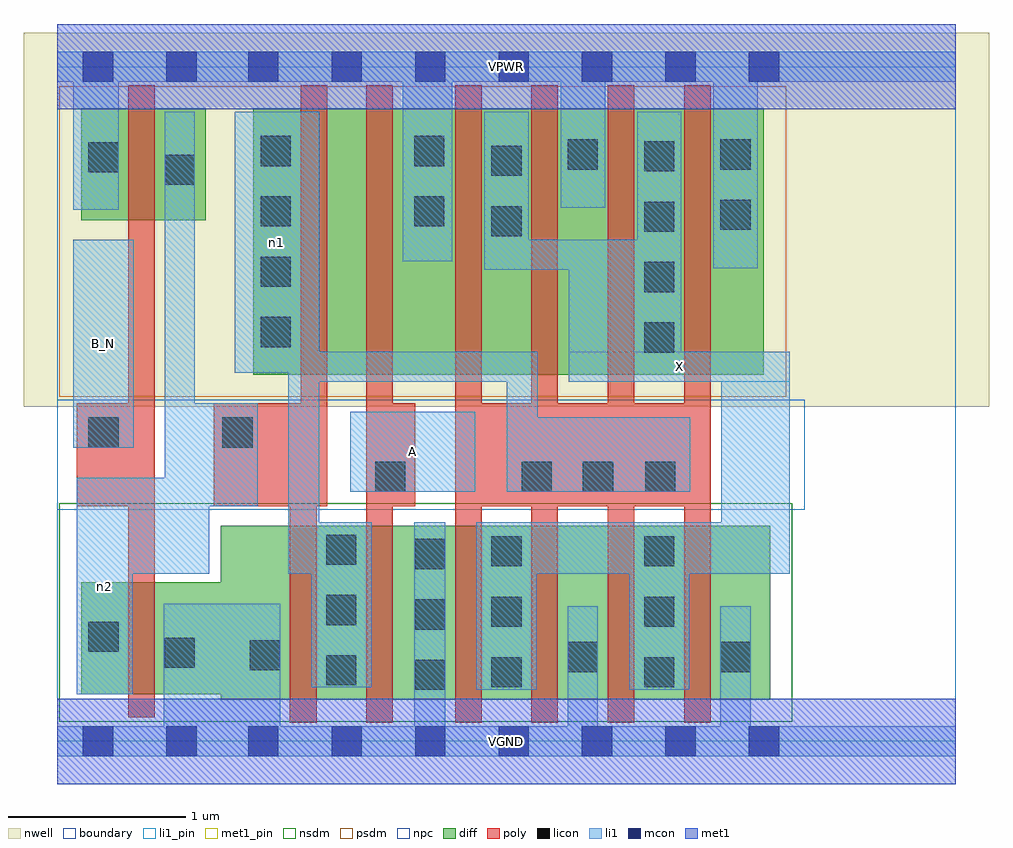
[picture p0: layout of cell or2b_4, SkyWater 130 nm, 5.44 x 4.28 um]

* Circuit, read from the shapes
.subckt or2b_4 A B_N VGND VPWR X n1 n2
XM1 VGND B_N n2 VSUBS sky130_fd_pr__nfet_01v8 w=0.63 l=0.15
XM2 n1 n2 VGND VSUBS sky130_fd_pr__nfet_01v8 w=0.98 l=0.15
XM3 VGND A n1 VSUBS sky130_fd_pr__nfet_01v8 w=0.98 l=0.15
XM4 X n1 VGND VSUBS sky130_fd_pr__nfet_01v8 w=0.98 l=0.15 m=4
XM5 n2 B_N VPWR n3 sky130_fd_pr__pfet_01v8 w=0.63 l=0.15
XM6 n4 n2 n1 n3 sky130_fd_pr__pfet_01v8 w=1.5 l=0.15
XM7 VPWR A n4 n3 sky130_fd_pr__pfet_01v8 w=1.5 l=0.15
XM8 X n1 VPWR n3 sky130_fd_pr__pfet_01v8 w=1.5 l=0.15 m=4
.ends

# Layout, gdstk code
import gdstk
lib = gdstk.Library(unit=1e-6, precision=1e-09)
def R(c, l, rs):  # rectangles x0, y0, x1, y1
    for r in rs: c.add(gdstk.rectangle(r[:2], r[2:], *l))
def A(c, l, x, y, w, h, nx, ny, dx, dy):  # array of equal rectangles
    R(c, l, [(x+i*dx, y+j*dy, x+i*dx+w, y+j*dy+h) for i in range(nx) for j in range(ny)])
nwell = (64, 20)
diff = (65, 20)
poly = (66, 20)
licon = (66, 44)
li1_pin = (67, 16)
li1 = (67, 20)
mcon = (67, 44)
met1_pin = (68, 16)
met1 = (68, 20)
nsdm = (93, 44)
psdm = (94, 20)
npc = (95, 20)
boundary = (235, 4)

or2b_4 = lib.new_cell('or2b_4')
R(or2b_4, nwell, [(-0.19,1.885,5.25,3.99), (0,1.885,5.06,3.99)])
R(or2b_4, diff, [(0.92,0.235,4.015,1.215), (0.135,0.265,4.015,0.895), (1.105,2.065,3.98,3.565), (0.135,2.935,0.835,3.565)])
A(or2b_4, poly, 2.24, 0.105, 0.15, 3.59, 4, 1, 0.43, 0)
R(or2b_4, poly, [(1.31,0.105,1.46,1.905), (1.74,0.105,1.89,3.695), (0.4,0.135,0.55,3.695), (0.11,1.325,0.55,1.905), (0.88,1.325,1.52,1.905), (1.37,1.325,1.52,3.695), (1.74,1.325,2.015,1.905), (2.24,1.325,3.68,1.905)])
A(or2b_4, licon, 2.015, 0.29, 0.17, 0.17, 1, 3, 0, 0.34)
A(or2b_4, licon, 2.445, 0.305, 0.17, 0.17, 1, 3, 0, 0.34)
A(or2b_4, licon, 3.305, 0.305, 0.17, 0.17, 1, 3, 0, 0.34)
A(or2b_4, licon, 1.515, 0.315, 0.17, 0.17, 1, 3, 0, 0.34)
A(or2b_4, licon, 3.305, 2.19, 0.17, 0.17, 1, 4, 0, 0.34)
A(or2b_4, licon, 1.145, 2.22, 0.17, 0.17, 1, 4, 0, 0.34)
R(or2b_4, licon, [(2.875,0.39,3.045,0.56), (3.735,0.39,3.905,0.56), (1.085,0.4,1.255,0.57), (0.605,0.415,0.775,0.585), (0.175,0.505,0.345,0.675), (1.79,1.405,1.96,1.575), (2.615,1.405,2.785,1.575), (2.96,1.405,3.13,1.575), (3.31,1.405,3.48,1.575), (0.175,1.655,0.345,1.825), (0.93,1.655,1.1,1.825), (2.445,2.845,2.615,3.015), (3.735,2.88,3.905,3.05), (2.01,2.9,2.18,3.07), (0.605,3.135,0.775,3.305), (2.445,3.185,2.615,3.355), (0.175,3.205,0.345,3.375), (2.875,3.22,3.045,3.39), (3.735,3.22,3.905,3.39), (2.01,3.24,2.18,3.41)])
R(or2b_4, li1_pin, [(1.65,1.405,2.355,1.855), (0.09,1.655,0.43,2.825), (2.88,2.025,4.125,2.195)])
R(or2b_4, li1, [(0,-0.085,5.06,0.085), (0.6,-0.085,1.255,0.775), (2.01,-0.085,2.185,1.235), (2.875,-0.085,3.045,0.76), (3.735,-0.085,3.905,0.76), (0.11,0.265,0.425,1.485), (2.36,0.29,2.7,1.235), (3.22,0.29,3.56,1.235), (1.43,0.305,1.77,1.235), (0.11,0.945,0.855,1.485), (0.605,0.945,0.775,3.545), (0.605,0.945,0.855,1.905), (1.3,0.945,1.475,3.545), (2.36,0.945,4.125,1.235), (3.74,0.945,4.125,2.195), (0.605,1.325,1.13,1.905), (1.65,1.405,2.355,1.855), (2.53,1.405,3.565,1.825), (2.53,1.405,2.705,2.195), (0.09,1.655,0.43,2.825), (1.3,2.025,2.705,2.195), (2.88,2.025,3.265,2.825), (2.88,2.025,4.125,2.195), (3.265,2.025,3.515,3.545), (1,2.075,1.475,3.545), (2.405,2.655,2.655,3.545), (2.405,2.655,3.515,2.825), (3.695,2.665,3.945,3.885), (1.945,2.705,2.225,3.885), (0.09,2.995,0.345,3.885), (2.835,3.005,3.085,3.885), (0,3.715,5.06,3.885)])
A(or2b_4, mcon, 1.075, -0.085, 0.17, 0.17, 7, 2, 0.47, 3.8)
R(or2b_4, mcon, [(0.145,-0.085,0.315,0.085), (0.615,-0.085,0.785,0.085), (0.145,3.715,0.315,3.885), (0.615,3.715,0.785,3.885)])
R(or2b_4, met1_pin, [(0,-0.24,5.06,0.24), (0,3.56,5.06,4.04)])
R(or2b_4, met1, [(0,-0.24,5.06,0.24), (0,3.56,5.06,4.04)])
R(or2b_4, nsdm, [(0.01,0.11,4.14,1.34)])
R(or2b_4, psdm, [(0.01,1.94,4.105,3.69)])
R(or2b_4, npc, [(0,1.305,4.21,1.925)])
R(or2b_4, boundary, [(0,0,5.06,3.8)])
or2b_4.add(gdstk.Label('A', (2.002,1.63), layer=67, texttype=5))
or2b_4.add(gdstk.Label('B_N', (0.26,2.24), layer=67, texttype=5))
or2b_4.add(gdstk.Label('X', (3.502,2.11), layer=67, texttype=5))
or2b_4.add(gdstk.Label('n2', (0.267,0.875), layer=67, texttype=5))
or2b_4.add(gdstk.Label('n1', (1.237,2.81), layer=67, texttype=5))
or2b_4.add(gdstk.Label('VPWR', (2.53,3.8), layer=68, texttype=5))
or2b_4.add(gdstk.Label('VGND', (2.53,0), layer=68, texttype=5))
or2b_4.add(gdstk.Label('A', (2.002,1.63), layer=67, texttype=16))
or2b_4.add(gdstk.Label('B_N', (0.26,2.24), layer=67, texttype=16))
or2b_4.add(gdstk.Label('X', (3.502,2.11), layer=67, texttype=16))
or2b_4.add(gdstk.Label('VPWR', (2.53,3.8), layer=68, texttype=16))
or2b_4.add(gdstk.Label('VGND', (2.53,0), layer=68, texttype=16))

lib.write_gds('or2b_4.gds')
